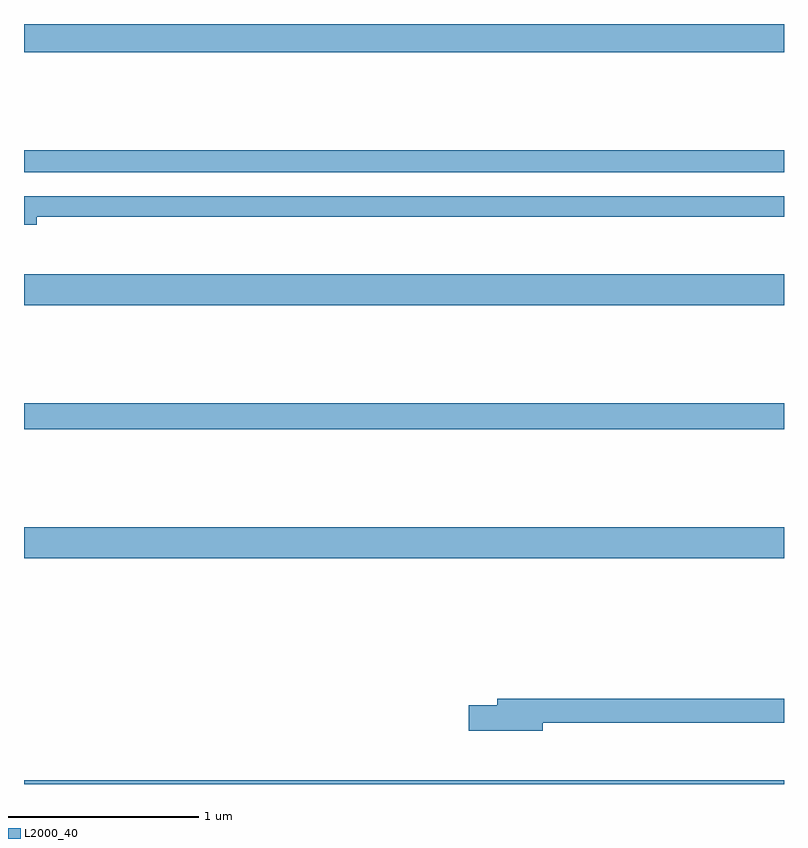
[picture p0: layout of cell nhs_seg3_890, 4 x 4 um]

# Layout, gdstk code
import gdstk
lib = gdstk.Library(unit=1e-6, precision=1e-09)
def R(c, l, rs):  # rectangles x0, y0, x1, y1
    for r in rs: c.add(gdstk.rectangle(r[:2], r[2:], *l))
def P(c, l, *ps):  # polygons
    for p in ps: c.add(gdstk.Polygon(p, *l))
L2000_40 = (2000, 40)

nhs_seg3_890 = lib.new_cell('nhs_seg3_890')
R(nhs_seg3_890, L2000_40, [(157,694.4,161,694.42), (157,695.588,161,695.752), (157,696.268,161,696.404), (157,696.92,161,697.084), (157,697.62,161,697.736), (157,698.252,161,698.4)])
P(nhs_seg3_890, L2000_40, [(157.066,697.386),(161,697.386),(161,697.494),(157,697.494),(157,697.343),(157.066,697.343)],
  [(159.73,694.722),(161,694.722),(161,694.85),(159.491,694.85),(159.491,694.814),(159.342,694.814),(159.342,694.679),(159.73,694.679)])

lib.write_gds('nhs_seg3_890.gds')
